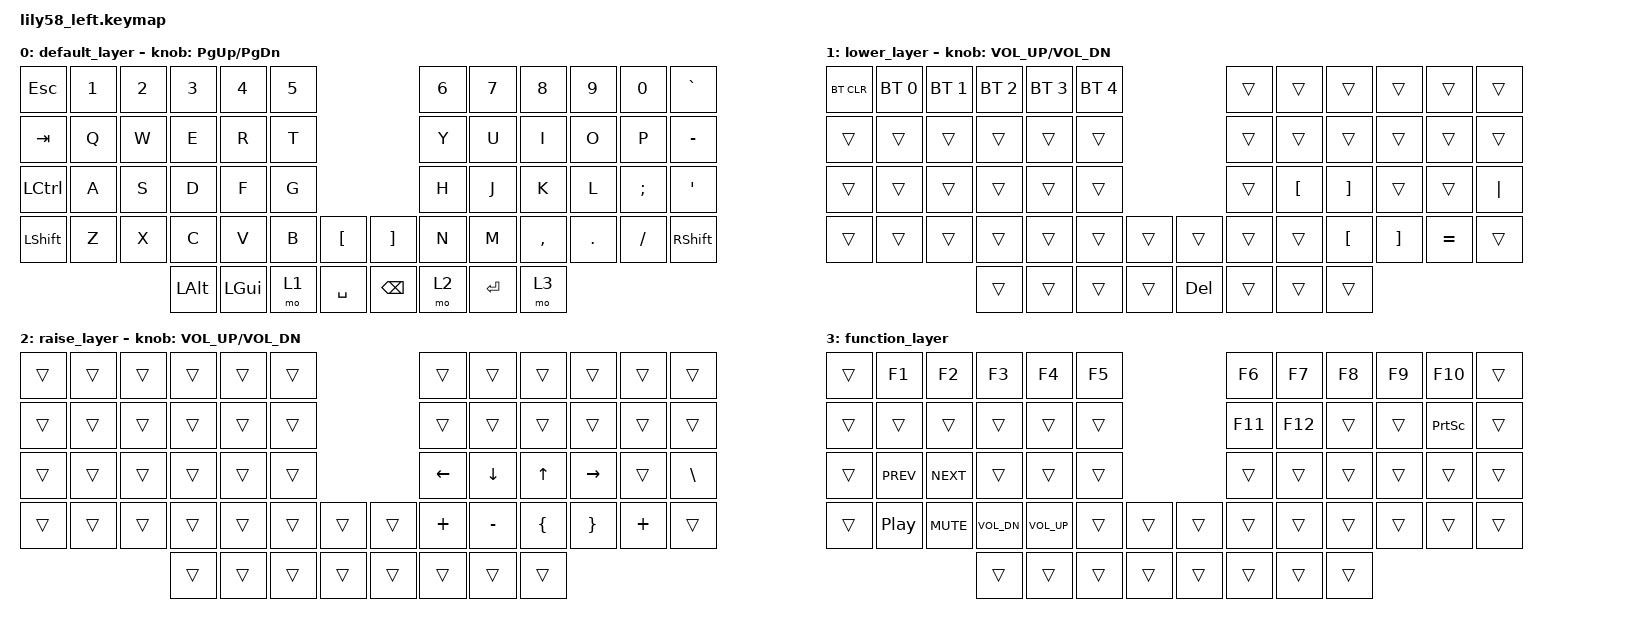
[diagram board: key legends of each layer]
#include <behaviors.dtsi>
#include <dt-bindings/zmk/keys.h>
#include <dt-bindings/zmk/bt.h>
#include <dt-bindings/zmk/ext_power.h>

/ {
    keymap {
        compatible = "zmk,keymap";

        default_layer {
            bindings = < 
&kp ESC   &kp N1 &kp N2 &kp N3   &kp N4   &kp N5                     &kp N6 &kp N7   &kp N8    &kp N9  &kp N0   &kp GRAVE
&kp TAB   &kp Q  &kp W  &kp E    &kp R    &kp T                      &kp Y  &kp U    &kp I     &kp O   &kp P    &kp MINUS
&kp LCTRL &kp A  &kp S  &kp D    &kp F    &kp G                      &kp H  &kp J    &kp K     &kp L   &kp SEMI &kp SQT
&kp LSHFT &kp Z  &kp X  &kp C    &kp V    &kp B  &kp LBKT   &kp RBKT &kp N  &kp M    &kp COMMA &kp DOT &kp FSLH &kp RSHFT
                        &kp LALT &kp LGUI &mo 1  &kp SPACE  &kp BSPC &mo 2  &kp RET  &mo 3
            >;
            sensor-bindings = <&inc_dec_kp PG_UP PG_DN>;
        };

        lower_layer {
            bindings = < 
&bt BT_CLR &bt BT_SEL 0 &bt BT_SEL 1 &bt BT_SEL 2 &bt BT_SEL 3 &bt BT_SEL 4                 &trans    &trans    &trans    &trans    &trans    &trans
&trans     &trans       &trans       &trans       &trans       &trans                       &trans    &trans    &trans    &trans    &trans    &trans
&trans     &trans       &trans       &trans       &trans       &trans                       &trans    &kp LBKT  &kp RBKT  &trans    &trans    &kp PIPE
&trans     &trans       &trans       &trans       &trans       &trans    &trans   &trans    &trans    &trans    &kp LBKT  &kp RBKT  &kp EQUAL &trans
                                     &trans       &trans       &trans    &trans   &kp DEL   &trans    &trans    &trans
            >;
            sensor-bindings = <&inc_dec_kp C_VOL_UP C_VOL_DN>;
        };

        raise_layer {
            bindings = < 
&trans     &trans &trans &trans &trans &trans                       &trans    &trans    &trans    &trans    &trans    &trans
&trans     &trans &trans &trans &trans &trans                       &trans    &trans    &trans    &trans    &trans    &trans
&trans     &trans &trans &trans &trans &trans                       &kp LEFT  &kp DOWN  &kp UP    &kp RIGHT &trans    &kp BSLH
&trans     &trans &trans &trans &trans &trans    &trans   &trans    &kp PLUS  &kp MINUS &kp LBRC  &kp RBRC  &kp PLUS  &trans
                         &trans &trans &trans    &trans   &trans    &trans    &trans    &trans
            >;
            sensor-bindings = <&inc_dec_kp C_VOL_UP C_VOL_DN>;
        };

        function_layer {
            bindings = < 
&trans &kp F1     &kp F2     &kp F3       &kp F4       &kp F5                     &kp F6   &kp F7   &kp F8   &kp F9   &kp F10   &trans
&trans &trans     &trans     &trans       &trans       &trans                     &kp F11  &kp F12  &trans   &trans   &kp PSCRN &trans
&trans &kp C_PREV &kp C_NEXT &trans       &trans       &trans                     &trans   &trans   &trans   &trans   &trans    &trans
&trans &kp C_PP   &kp C_MUTE &kp C_VOL_DN &kp C_VOL_UP &trans   &trans   &trans   &trans   &trans   &trans   &trans   &trans    &trans
                             &trans       &trans       &trans   &trans   &trans   &trans   &trans   &trans
            >;
        };
    };
};


